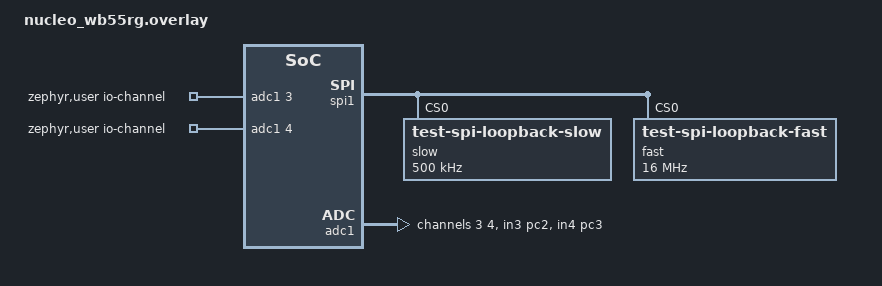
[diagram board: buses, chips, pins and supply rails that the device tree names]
/*
 * Copyright (c) 2020 STMicroelectronics
 *
 * SPDX-License-Identifier: Apache-2.0
 */

&dma1 {
	status = "okay";
};

&dma2 {
	status = "okay";
};

tst_dma0: &dmamux1 {
	status = "okay";
};

&spi1 {
	dmas = <&dmamux1 11 7 (STM32_DMA_PERIPH_TX | STM32_DMA_PRIORITY_HIGH)>,
	       <&dmamux1 1 6 (STM32_DMA_PERIPH_RX | STM32_DMA_PRIORITY_HIGH)>;
	dma-names = "tx", "rx";
	slow@0 {
		compatible = "test-spi-loopback-slow";
		reg = <0>;
		spi-max-frequency = <500000>;
	};
	fast@0 {
		compatible = "test-spi-loopback-fast";
		reg = <0>;
		spi-max-frequency = <16000000>;
	};
};

&dmamux1 {
	status = "okay";
};

/ {
	zephyr,user {
		io-channels = <&adc1 3>, <&adc1 4>;
	};
};

&adc1 {
	dmas = <&dmamux1 0 5 (STM32_DMA_PERIPH_RX | STM32_DMA_MEM_16BITS |
			      STM32_DMA_PERIPH_16BITS)>;
	dma-names = "dmamux";
	pinctrl-0 = <&adc1_in3_pc2 &adc1_in4_pc3>;
	#address-cells = <1>;
	#size-cells = <0>;
	channel@3 {
		reg = <3>;
		zephyr,gain = "ADC_GAIN_1";
		zephyr,reference = "ADC_REF_INTERNAL";
		zephyr,acquisition-time = <ADC_ACQ_TIME_MAX>;
		zephyr,resolution = <12>;
	};
	channel@4 {
		reg = <4>;
		zephyr,gain = "ADC_GAIN_1";
		zephyr,reference = "ADC_REF_INTERNAL";
		zephyr,acquisition-time = <ADC_ACQ_TIME(ADC_ACQ_TIME_TICKS, 248)>;
		zephyr,resolution = <12>;
	};
};
